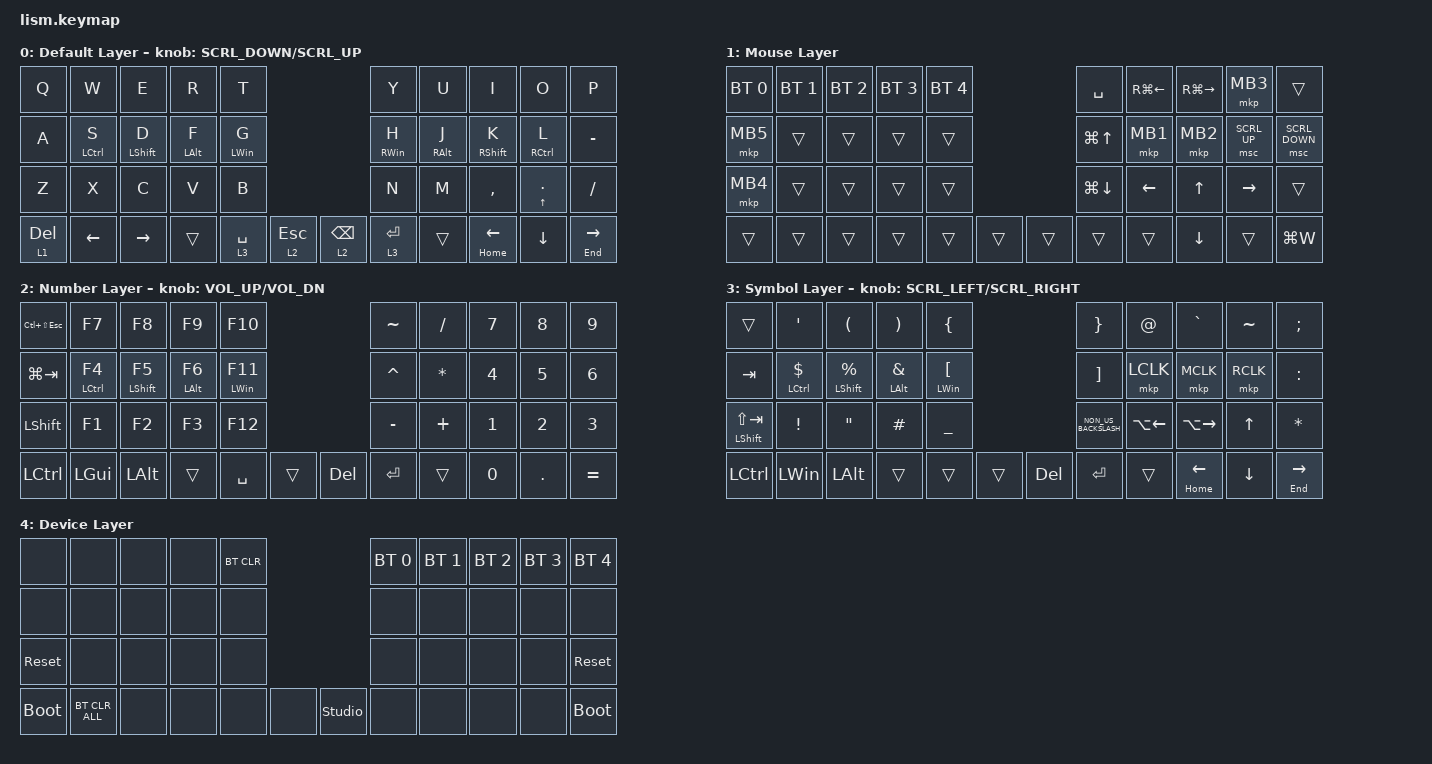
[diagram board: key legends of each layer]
#define ZMK_POINTING_DEFAULT_SCRL_VAL 200

#include <dt-bindings/zmk/mouse.h>
#include <behaviors.dtsi>
#include <dt-bindings/zmk/bt.h>
#include <dt-bindings/zmk/keys.h>
#include <dt-bindings/zmk/pointing.h>

&mt {
    tapping-term-ms = <200>;
    flavor = "tap-preferred";
    quick-tap-ms = <200>;
    require-prior-idle-ms = <125>;
};

&lt { quick-tap-ms = <300>; };

/ {
    macros {
        emoji: emoji_macro {
            compatible = "zmk,behavior-macro";
            label = "EMOJI";
            #binding-cells = <0>;
            bindings =
                <&macro_press>,
                <&kp CAPSLOCK>,
                <&macro_tap>,
                <&kp E>,
                <&macro_release>,
                <&kp CAPSLOCK>;
        };
    };

    behaviors {
        encoder_msc: sensor_rotate_msc {
            compatible = "zmk,behavior-sensor-rotate-var";
            #sensor-binding-cells = <2>;
            bindings = <&msc>, <&msc>;

            tap-ms = <20>;
        };

        encoder_kp: sensor_rotate_kp {
            compatible = "zmk,behavior-sensor-rotate-var";
            #sensor-binding-cells = <2>;
            bindings = <&kp>, <&kp>;
        };
    };

    combos {
        compatible = "zmk,combos";

        eng {
            bindings = <&kp LANG2>;
            key-positions = <12 13>;
        };

        jpn {
            bindings = <&kp LANG1>;
            key-positions = <16 17>;
        };

        mouse {
            bindings = <&tog 1>;
            key-positions = <18 19>;
        };
    };

    keymap {
        compatible = "zmk,keymap";

        default_layer {
            display-name = "Default Layer";
            bindings = <
&kp Q         &kp W        &kp E         &kp R           &kp T                                         &kp Y            &kp U            &kp I          &kp O                &kp P
&kp A         &mt LCTRL S  &mt LSHIFT D  &mt LEFT_ALT F  &mt LEFT_WIN G                                &mt RIGHT_WIN H  &mt RIGHT_ALT J  &mt RSHIFT K   &mt RCTRL L          &kp MINUS
&kp Z         &kp X        &kp C         &kp V           &kp B                                         &kp N            &kp M            &kp COMMA      &mt UP_ARROW PERIOD  &kp SLASH
&lt 1 DELETE  &kp LEFT     &kp RIGHT     &trans          &lt 3 SPACE     &lt 2 ESC    &lt 2 BACKSPACE  &lt 3 ENTER      &trans           &mt HOME LEFT  &kp DOWN             &mt END RIGHT
            >;

            sensor-bindings = <&encoder_msc SCRL_DOWN SCRL_UP>;
        };

        layer_1 {
            display-name = "Mouse Layer";
            bindings = <
&bt BT_SEL 0  &bt BT_SEL 1  &bt BT_SEL 2  &bt BT_SEL 3  &bt BT_SEL 4                    &kp SPACE     &kp RG(LEFT)  &kp RG(RIGHT)  &mkp MB3      &trans
&mkp MB5      &trans        &trans        &trans        &trans                          &kp LG(UP)    &mkp MB1      &mkp MB2       &msc SCRL_UP  &msc SCRL_DOWN
&mkp MB4      &trans        &trans        &trans        &trans                          &kp LG(DOWN)  &kp LEFT      &kp UP         &kp RIGHT     &trans
&trans        &trans        &trans        &trans        &trans        &trans    &trans  &trans        &trans        &kp DOWN       &trans        &kp LG(W)
            >;
        };

        layer_2 {
            display-name = "Number Layer";
            bindings = <
&kp LC(LS(ESCAPE))  &kp F7        &kp F8         &kp F9           &kp F10                                 &kp TILDE  &kp SLASH     &kp N7        &kp N8        &kp N9
&kp LG(TAB)         &mt LCTRL F4  &mt LSHIFT F5  &mt LEFT_ALT F6  &mt LEFT_WIN F11                        &kp CARET  &kp ASTERISK  &kp NUMBER_4  &kp N5        &kp NUMBER_6
&kp LEFT_SHIFT      &kp F1        &kp F2         &kp F3           &kp F12                                 &kp MINUS  &kp PLUS      &kp NUMBER_1  &kp NUMBER_2  &kp NUMBER_3
&kp LCTRL           &kp LEFT_GUI  &kp LEFT_ALT   &trans           &kp SPACE         &trans    &kp DELETE  &kp ENTER  &trans        &kp NUMBER_0  &kp PERIOD    &kp EQUAL
            >;

            sensor-bindings = <&encoder_kp C_VOL_UP C_VOL_DN>;
        };

        layer_3 {
            display-name = "Symbol Layer";
            bindings = <
&trans                  &kp SQT           &kp LEFT_PARENTHESIS    &kp RIGHT_PARENTHESIS   &kp LEFT_BRACE                                   &kp RIGHT_BRACE       &kp AT_SIGN   &kp GRAVE      &kp TILDE     &kp SEMICOLON
&kp TAB                 &mt LCTRL DOLLAR  &mt LEFT_SHIFT PERCENT  &mt LEFT_ALT AMPERSAND  &mt LEFT_WIN LEFT_BRACKET                        &kp RIGHT_BRACKET     &mkp LCLK     &mkp MCLK      &mkp RCLK     &kp COLON
&mt LEFT_SHIFT LS(TAB)  &kp EXCLAMATION   &kp DOUBLE_QUOTES       &kp HASH                &kp UNDERSCORE                                   &kp NON_US_BACKSLASH  &kp LA(LEFT)  &kp LA(RIGHT)  &kp UP_ARROW  &kp ASTERISK
&kp LCTRL               &kp LEFT_WIN      &kp LEFT_ALT            &trans                  &trans                     &trans    &kp DELETE  &kp ENTER             &trans        &mt HOME LEFT  &kp DOWN      &mt END RIGHT
            >;

            sensor-bindings = <&encoder_msc SCRL_LEFT SCRL_RIGHT>;
        };

        layer_4 {
            display-name = "Device Layer";
            bindings = <
&none        &none           &none  &none  &bt BT_CLR                           &bt BT_SEL 0  &bt BT_SEL 1  &bt BT_SEL 2  &bt BT_SEL 3  &bt BT_SEL 4
&none        &none           &none  &none  &none                                &none         &none         &none         &none         &none
&sys_reset   &none           &none  &none  &none                                &none         &none         &none         &none         &sys_reset
&bootloader  &bt BT_CLR_ALL  &none  &none  &none       &none    &studio_unlock  &none         &none         &none         &none         &bootloader
            >;
        };

        layer_5 {
            status = "reserved";
            display-name = "Brank Layer";
            bindings = <
&trans  &trans  &trans  &trans  &trans                    &trans  &trans  &trans  &trans  &trans
&trans  &trans  &trans  &trans  &trans                    &trans  &trans  &trans  &trans  &trans
&trans  &trans  &trans  &trans  &trans                    &trans  &trans  &trans  &trans  &trans
&trans  &trans  &trans  &trans  &trans  &trans    &trans  &trans  &trans  &trans  &trans  &trans
            >;
        };

        layer_6 {
            status = "reserved";
            display-name = "Brank Layer";
            bindings = <
&trans  &trans  &trans  &trans  &trans                    &trans  &trans  &trans  &trans  &trans
&trans  &trans  &trans  &trans  &trans                    &trans  &trans  &trans  &trans  &trans
&trans  &trans  &trans  &trans  &trans                    &trans  &trans  &trans  &trans  &trans
&trans  &trans  &trans  &trans  &trans  &trans    &trans  &trans  &trans  &trans  &trans  &trans
            >;
        };

        layer_7 {
            status = "reserved";
            display-name = "Brank Layer";
            bindings = <
&trans  &trans  &trans  &trans  &trans                    &trans  &trans  &trans  &trans  &trans
&trans  &trans  &trans  &trans  &trans                    &trans  &trans  &trans  &trans  &trans
&trans  &trans  &trans  &trans  &trans                    &trans  &trans  &trans  &trans  &trans
&trans  &trans  &trans  &trans  &trans  &trans    &trans  &trans  &trans  &trans  &trans  &trans
            >;
        };
    };
};
